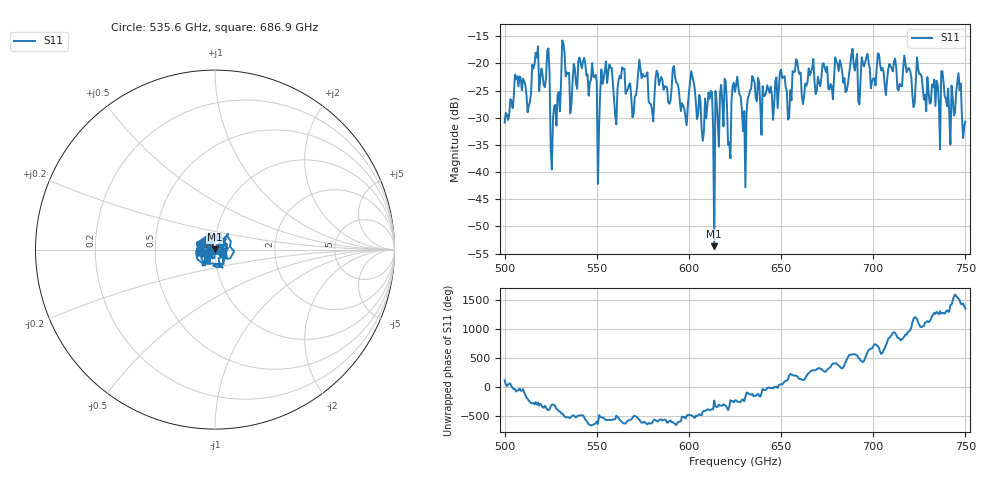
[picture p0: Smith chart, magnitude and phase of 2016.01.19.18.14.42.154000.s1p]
!Created with skrf (http://scikit-rf.org).
# GHz S RI R 50.0
!freq ReS11 ImS11
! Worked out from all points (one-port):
!   401 points, 500 GHz to 750 GHz, reference 50 ohm
!   lowest |S11| = -53.6 dB at 613.8 GHz (marker M1), VSWR 1.00, Z = 49.9 + j0.158 ohm
!   |S11| at or under -10 dB: start of sweep to end of sweep
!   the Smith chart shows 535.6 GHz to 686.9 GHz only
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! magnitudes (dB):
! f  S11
! 500 GHz  -30.9
! 506.9 GHz  -22.4
! 513.1 GHz  -27.9
! 516.9 GHz  -18.0
! 523.1 GHz  -17.7
! 526.2 GHz  -30.2
! 531.2 GHz  -15.8
! 548.8 GHz  -22.6
! 550.6 GHz  -42.2
! 553.8 GHz  -22.7
! 562.5 GHz  -22.3
! 593.8 GHz  -23.7
! 598.1 GHz  -29.9
! 601.9 GHz  -22.4
! 608.1 GHz  -32.6
! 611.2 GHz  -26.5
! 613.8 GHz  -53.6
! 618.8 GHz  -31.6
! 621.9 GHz  -34.5
! 625 GHz  -25.2
! 630 GHz  -28.8
! 634.4 GHz  -22.3
! 656.2 GHz  -21.4
! 687.5 GHz  -20.4
! 718.8 GHz  -21.0
! 742.5 GHz  -24.1
! 746.2 GHz  -21.8
! 750 GHz  -30.7
